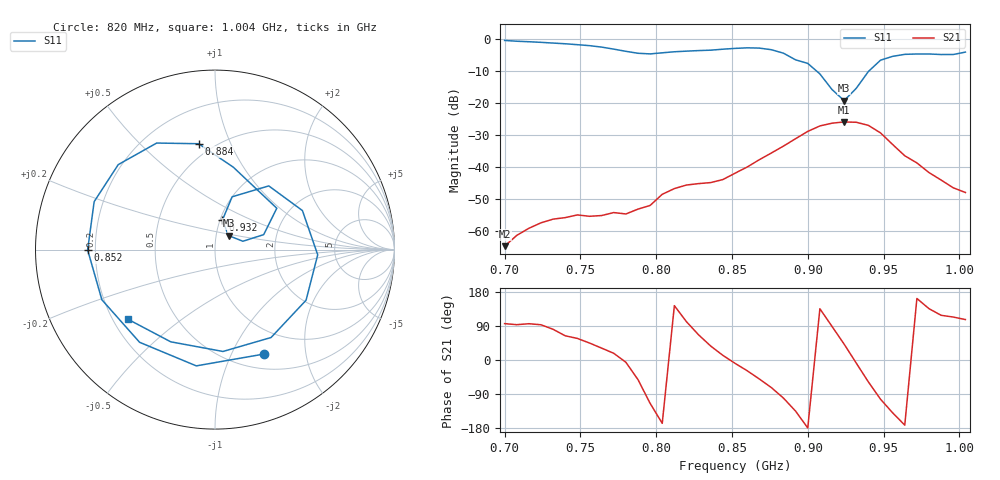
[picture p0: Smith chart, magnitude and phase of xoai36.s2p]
# Hz S RI R 50
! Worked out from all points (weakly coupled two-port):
!   39 points, 700 MHz to 1.004 GHz, reference 50 ohm
!   highest |S21| = -25.92 dB at 924 MHz (marker M1); lowest = -64.7 dB at 700 MHz (marker M2)
!   lowest |S11| = -19.3 dB at 924 MHz (marker M3), VSWR 1.24, Z = 57.4 + j9.08 ohm
!   |S11| at or under -10 dB: 905.7 MHz to 940.4 MHz (34.71 MHz wide, 3.76 % of centre)
!   S12 and S22 are empty: the file has one direction only
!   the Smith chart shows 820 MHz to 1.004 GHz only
!   S11 on the Smith chart (normalised r, x): 820 MHz: 0.68, -1.35; 852 MHz: 0.17, -0.00; 884 MHz: 0.42, +0.77; 932 MHz: 1.03, +0.35; 1.004 GHz: 0.26, -0.33
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7e8  0.7614 0.5577  -6.04e-05 0.00058  0 0  0 0
7.24e8  0.8465 -0.2474  -6.99e-05 0.00135  0 0  0 0
7.4e8  0.456 -0.7029  0.000716 0.00146  0 0  0 0
7.56e8  -0.1933 -0.7588  0.00121 0.0012  0 0  0 0
7.72e8  -0.6626 -0.1971  0.00186 0.000593  0 0  0 0
7.8e8  -0.5964 0.2292  0.00184 -0.000191  0 0  0 0
7.88e8  -0.2479 0.5417  0.00137 -0.00174  0 0  0 0
7.96e8  0.243 0.529  -0.00104 -0.00229  0 0  0 0
8.04e8  0.579 0.1776  -0.00367 -0.000838  0 0  0 0
8.2e8  0.2745 -0.5816  -0.000993 0.00515  0 0  0 0
8.36e8  -0.4201 -0.5164  0.00459 0.00342  0 0  0 0
8.52e8  -0.7096 -0.00198  0.00792 -0.00122  0 0  0 0
8.68e8  -0.5391 0.4735  0.00836 -0.00997  0 0  0 0
8.84e8  -0.0913 0.5899  -0.00393 -0.0209  0 0  0 0
9e8  0.3443 0.2304  -0.036 -0.000389  0 0  0 0
9.08e8  0.2713 0.0834  -0.0311 0.0308  0 0  0 0
9.24e8  0.0754 0.0782  0.0377 0.0337  0 0  0 0
9.32e8  0.0411 0.1641  0.0495 -0.00711  0 0  0 0
9.48e8  0.2996 0.3549  -0.00792 -0.0332  0 0  0 0
9.56e8  0.487 0.2175  -0.0171 -0.0147  0 0  0 0
9.8e8  0.3124 -0.4897  -0.00584 0.00575  0 0  0 0
1.004e9  -0.4849 -0.3881  -0.00115 0.00384  0 0  0 0
